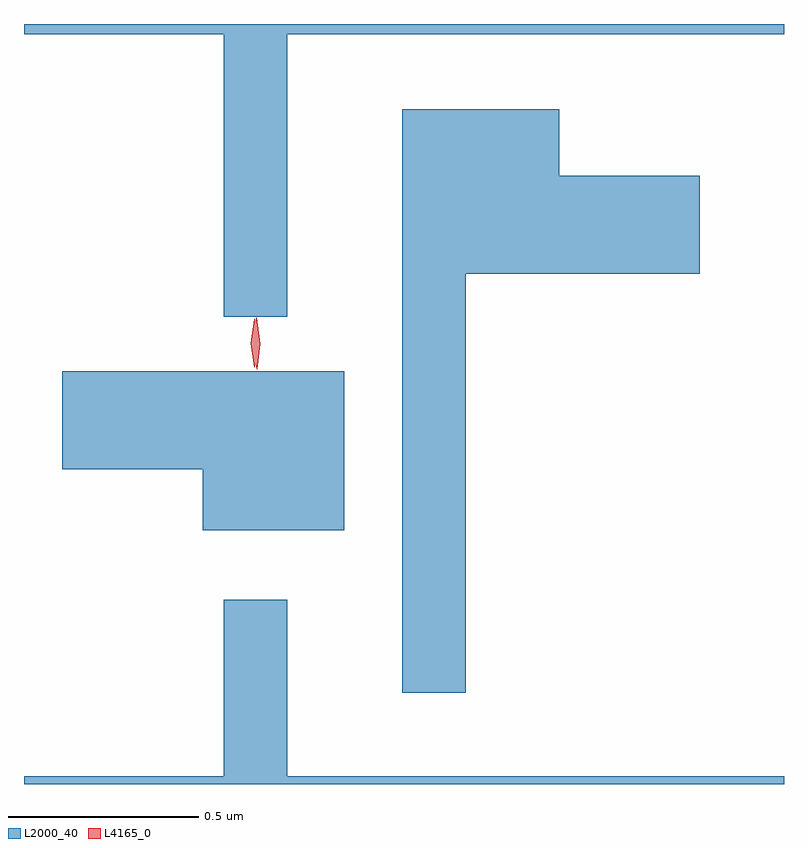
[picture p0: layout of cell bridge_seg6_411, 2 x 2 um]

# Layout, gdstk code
import gdstk
lib = gdstk.Library(unit=1e-6, precision=1e-09)
def P(c, l, *ps):  # polygons
    for p in ps: c.add(gdstk.Polygon(p, *l))
L2000_40 = (2000, 40)
L4165_0 = (4165, 0)

bridge_seg6_411 = lib.new_cell('bridge_seg6_411')
P(bridge_seg6_411, L2000_40, [(945.899,1638.836),(947.206,1638.836),(947.206,1638.863),(945.206,1638.863),(945.206,1638.836),(945.731,1638.836),(945.731,1638.093),(945.899,1638.093)],
  [(946.369,1638.206),(946.984,1638.206),(946.984,1638.464),(946.614,1638.464),(946.614,1638.639),(946.201,1638.639),(946.201,1637.103),(946.369,1637.103)],
  [(946.049,1637.949),(945.306,1637.949),(945.306,1637.691),(945.676,1637.691),(945.676,1637.531),(946.049,1637.531)],
  [(947.206,1636.884),(945.899,1636.884),(945.899,1637.348),(945.731,1637.348),(945.731,1636.884),(945.206,1636.884),(945.206,1636.863),(947.206,1636.863)])
P(bridge_seg6_411, L4165_0, [(945.818,1637.954),(945.808,1638.022),(945.817,1638.09),(945.818,1638.09),(945.818,1638.09),(945.828,1638.022),(945.82,1637.954),(945.819,1637.954)],
  [(945.812,1637.96),(945.803,1638.023),(945.812,1638.086),(945.813,1638.087),(945.813,1638.086),(945.823,1638.023),(945.813,1637.96),(945.813,1637.96)])

lib.write_gds('bridge_seg6_411.gds')
